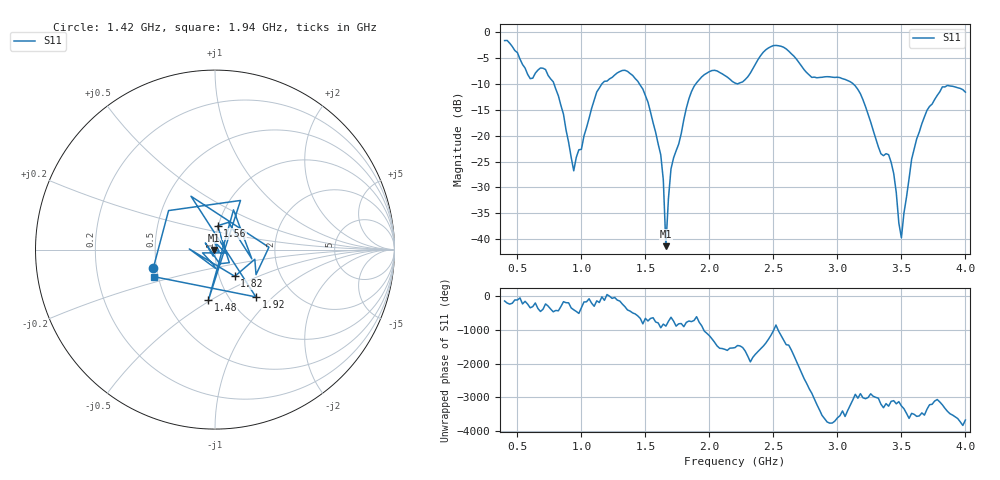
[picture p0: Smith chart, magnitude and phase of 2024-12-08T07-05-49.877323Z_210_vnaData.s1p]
!Created with skrf (http://scikit-rf.org).
# Hz S RI R 50.0
!freq ReS11 ImS11
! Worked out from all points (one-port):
!   181 points, 400 MHz to 4 GHz, reference 50 ohm
!   lowest |S11| = -41.4 dB at 1.66 GHz (marker M1), VSWR 1.02, Z = 49.2 - j0.208 ohm
!   |S11| at or under -10 dB: 786.5 MHz to 1.159 GHz (372.1 MHz wide, 38.3 % of centre); 1.455 GHz to 1.892 GHz (437.9 MHz wide, 26.2 % of centre); 3.125 GHz to end of sweep
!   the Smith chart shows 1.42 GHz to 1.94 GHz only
!   S11 on the Smith chart (normalised r, x): 1.42 GHz: 0.48, -0.11; 1.48 GHz: 0.80, -0.49; 1.56 GHz: 0.99, +0.27; 1.82 GHz: 1.19, -0.37; 1.92 GHz: 1.32, -0.79; 1.94 GHz: 0.47, -0.17
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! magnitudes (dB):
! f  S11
! 400 MHz  -1.6
! 600 MHz  -8.9
! 720 MHz  -7.2
! 860 MHz  -15.8
! 940 MHz  -26.8
! 1.12 GHz  -11.5
! 1.3 GHz  -7.6
! 1.42 GHz  -8.9
! 1.48 GHz  -11.0
! 1.56 GHz  -17.5
! 1.62 GHz  -23.7
! 1.64 GHz  -28.6
! 1.66 GHz  -41.4
! 1.7 GHz  -26.4
! 1.76 GHz  -21.6
! 1.82 GHz  -14.6
! 1.92 GHz  -9.2
! 1.94 GHz  -8.6
! 2.2 GHz  -9.8
! 2.48 GHz  -2.7
! 2.66 GHz  -4.6
! 3.1 GHz  -9.5
! 3.42 GHz  -25.2
! 3.5 GHz  -39.8
! 3.56 GHz  -28.3
! 3.72 GHz  -14.3
! 3.82 GHz  -10.5
! 4 GHz  -11.6
